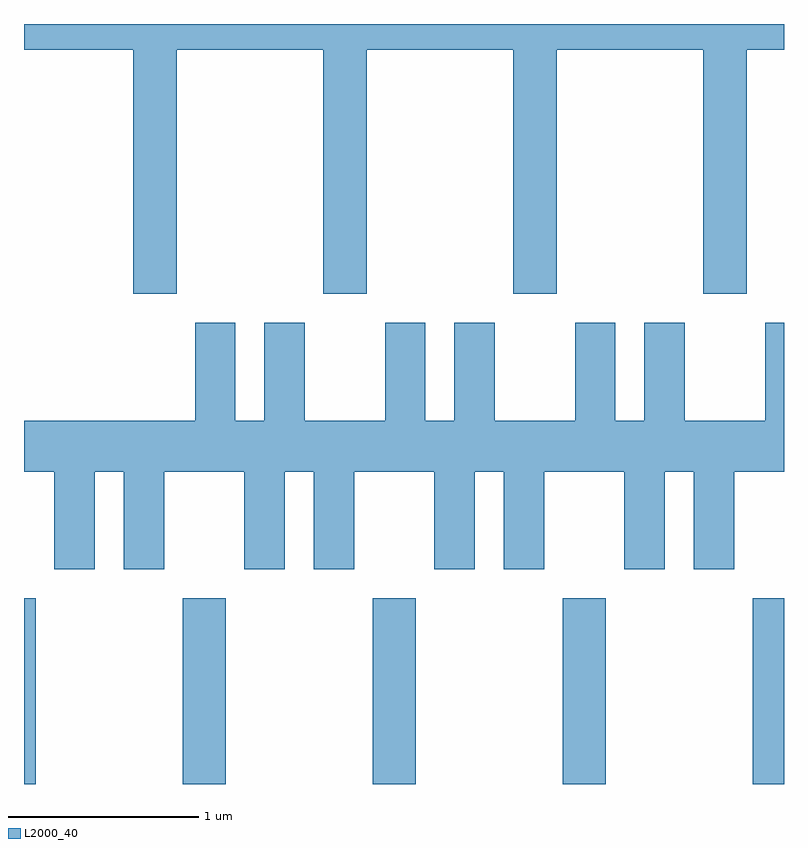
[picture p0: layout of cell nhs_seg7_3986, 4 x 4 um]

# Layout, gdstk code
import gdstk
lib = gdstk.Library(unit=1e-6, precision=1e-09)
def R(c, l, rs):  # rectangles x0, y0, x1, y1
    for r in rs: c.add(gdstk.rectangle(r[:2], r[2:], *l))
def A(c, l, x, y, w, h, nx, ny, dx, dy):  # array of equal rectangles
    R(c, l, [(x+i*dx, y+j*dy, x+i*dx+w, y+j*dy+h) for i in range(nx) for j in range(ny)])
def P(c, l, *ps):  # polygons
    for p in ps: c.add(gdstk.Polygon(p, *l))
L2000_40 = (2000, 40)

nhs_seg7_3986 = lib.new_cell('nhs_seg7_3986')
A(nhs_seg7_3986, L2000_40, 308.446, 1688.252, 0.228, 0.977, 3, 1, 1, 0)
R(nhs_seg7_3986, L2000_40, [(307.611,1688.252,307.674,1689.229), (311.446,1688.252,311.611,1689.229)])
P(nhs_seg7_3986, L2000_40, [(308.414,1692.116),(309.186,1692.116),(309.186,1690.831),(309.414,1690.831),(309.414,1692.116),(310.186,1692.116),(310.186,1690.831),(310.414,1690.831),(310.414,1692.116),(311.186,1692.116),(311.186,1690.831),(311.414,1690.831),(311.414,1692.116),(311.611,1692.116),(311.611,1692.252),(307.611,1692.252),(307.611,1692.116),(308.186,1692.116),(308.186,1690.831),(308.414,1690.831)],
  [(309.771,1689.381),(309.984,1689.381),(309.984,1689.896),(310.136,1689.896),(310.136,1689.381),(310.349,1689.381),(310.349,1689.896),(310.771,1689.896),(310.771,1689.381),(310.984,1689.381),(310.984,1689.896),(311.136,1689.896),(311.136,1689.381),(311.349,1689.381),(311.349,1689.896),(311.611,1689.896),(311.611,1690.679),(311.511,1690.679),(311.511,1690.164),(311.089,1690.164),(311.089,1690.679),(310.876,1690.679),(310.876,1690.164),(310.724,1690.164),(310.724,1690.679),(310.511,1690.679),(310.511,1690.164),(310.089,1690.164),(310.089,1690.679),(309.876,1690.679),(309.876,1690.164),(309.724,1690.164),(309.724,1690.679),(309.511,1690.679),(309.511,1690.164),(309.089,1690.164),(309.089,1690.679),(308.876,1690.679),(308.876,1690.164),(308.724,1690.164),(308.724,1690.679),(308.511,1690.679),(308.511,1690.164),(307.611,1690.164),(307.611,1689.896),(307.771,1689.896),(307.771,1689.381),(307.984,1689.381),(307.984,1689.896),(308.136,1689.896),(308.136,1689.381),(308.349,1689.381),(308.349,1689.896),(308.771,1689.896),(308.771,1689.381),(308.984,1689.381),(308.984,1689.896),(309.136,1689.896),(309.136,1689.381),(309.349,1689.381),(309.349,1689.896),(309.771,1689.896)])

lib.write_gds('nhs_seg7_3986.gds')
